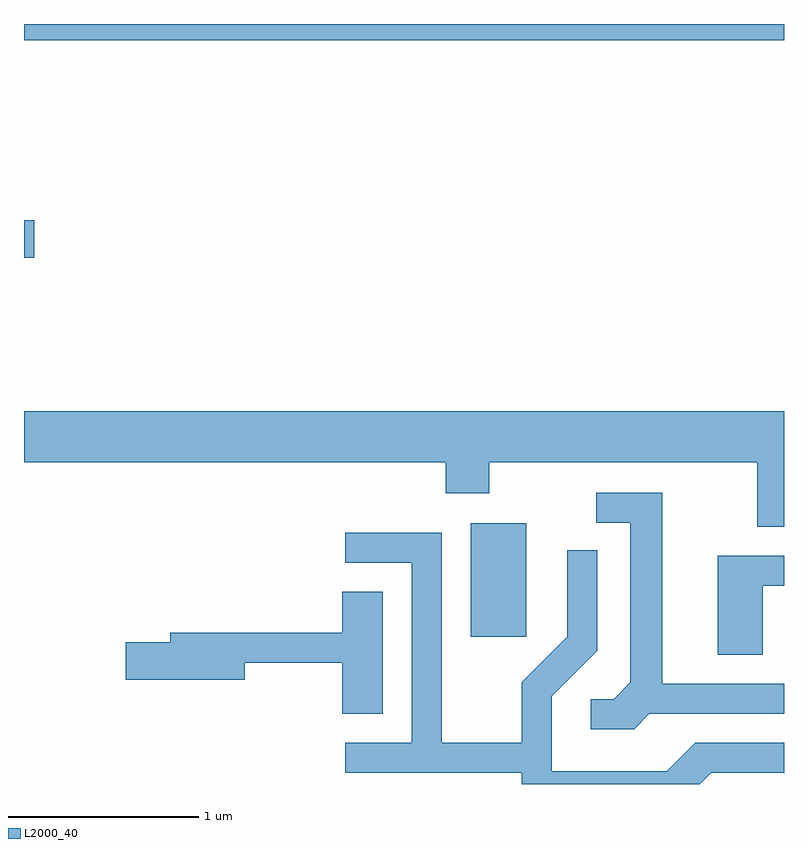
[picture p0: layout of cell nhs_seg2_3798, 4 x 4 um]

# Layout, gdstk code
import gdstk
lib = gdstk.Library(unit=1e-6, precision=1e-09)
def R(c, l, rs):  # rectangles x0, y0, x1, y1
    for r in rs: c.add(gdstk.rectangle(r[:2], r[2:], *l))
def P(c, l, *ps):  # polygons
    for p in ps: c.add(gdstk.Polygon(p, *l))
L2000_40 = (2000, 40)

nhs_seg2_3798 = lib.new_cell('nhs_seg2_3798')
R(nhs_seg2_3798, L2000_40, [(299.961,978.576,300.254,979.174), (297.611,980.571,297.664,980.769), (297.611,981.716,301.611,981.802)])
P(nhs_seg2_3798, L2000_40, [(301.611,979.764),(297.611,979.764),(297.611,979.496),(299.831,979.496),(299.831,979.331),(300.059,979.331),(300.059,979.496),(301.471,979.496),(301.471,979.156),(301.611,979.156)],
  [(300.902,978.171),(301.611,978.171),(301.611,978.329),(300.969,978.329),(300.969,979.334),(300.623,979.334),(300.623,979.176),(300.801,979.176),(300.801,978.337),(300.714,978.249),(300.593,978.249),(300.593,978.091),(300.822,978.091)],
  [(301.227,977.861),(301.609,977.861),(301.611,977.859),(301.611,978.019),(301.144,978.019),(300.994,977.869),(300.389,977.869),(300.389,978.264),(300.629,978.504),(300.629,979.033),(300.471,979.033),(300.471,978.577),(300.231,978.337),(300.231,978.019),(299.809,978.019),(299.809,979.124),(299.303,979.124),(299.303,978.966),(299.651,978.966),(299.651,978.019),(299.303,978.019),(299.303,977.861),(300.231,977.861),(300.231,977.802),(301.168,977.802)],
  [(301.499,978.846),(301.611,978.846),(301.611,979.004),(301.261,979.004),(301.261,978.481),(301.499,978.481)],
  [(299.499,978.814),(299.286,978.814),(299.286,978.599),(298.381,978.599),(298.381,978.549),(298.146,978.549),(298.146,978.351),(298.774,978.351),(298.774,978.441),(299.286,978.441),(299.286,978.171),(299.499,978.171)])

lib.write_gds('nhs_seg2_3798.gds')
